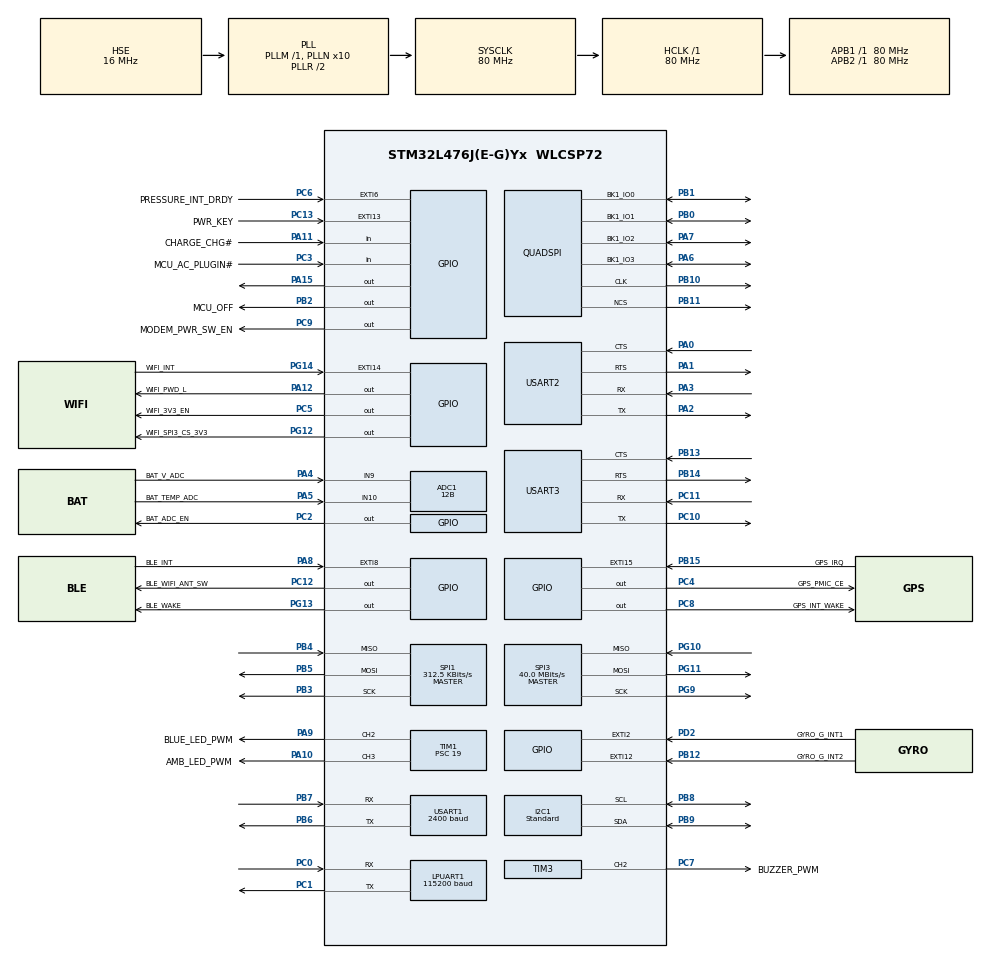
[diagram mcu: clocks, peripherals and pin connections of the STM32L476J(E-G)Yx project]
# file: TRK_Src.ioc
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ADC1.Channel-8\#ChannelRegularConversion=ADC_CHANNEL_9
ADC1.ClockPrescaler=ADC_CLOCK_ASYNC_DIV1
ADC1.ContinuousConvMode=DISABLE
ADC1.DMAContinuousRequests=DISABLE
ADC1.DataAlign=ADC_DATAALIGN_RIGHT
ADC1.DiscontinuousConvMode=DISABLE
ADC1.EOCSelection=ADC_EOC_SINGLE_CONV
ADC1.EnableAnalogWatchDog1=false
ADC1.EnableAnalogWatchDog2=false
ADC1.EnableAnalogWatchDog3=false
ADC1.EnableInjectedConversion=DISABLE
ADC1.EnableRegularConversion=ENABLE
ADC1.ExternalTrigConv=ADC_SOFTWARE_START
ADC1.ExternalTrigConvEdge=ADC_EXTERNALTRIGCONVEDGE_NONE
ADC1.LowPowerAutoWait=DISABLE
ADC1.NbrOfConversion=1
ADC1.NbrOfConversionFlag=1
ADC1.OffsetNumber-8\#ChannelRegularConversion=ADC_OFFSET_NONE
ADC1.Overrun=ADC_OVR_DATA_PRESERVED
ADC1.OversamplingMode=DISABLE
ADC1.Rank-8\#ChannelRegularConversion=1
ADC1.Resolution=ADC_RESOLUTION_12B
ADC1.SamplingTime-8\#ChannelRegularConversion=ADC_SAMPLETIME_2CYCLES_5
ADC1.ScanConvMode=ADC_SCAN_DISABLE
ADC1.master=1
CRC.InputDataFormat=CRC_INPUTDATA_FORMAT_WORDS
Dma.QUADSPI.2.Direction=DMA_PERIPH_TO_MEMORY
Dma.QUADSPI.2.Instance=DMA1_Channel5
Dma.QUADSPI.2.MemDataAlignment=DMA_MDATAALIGN_BYTE
Dma.QUADSPI.2.MemInc=DMA_MINC_ENABLE
Dma.QUADSPI.2.Mode=DMA_NORMAL
Dma.QUADSPI.2.PeriphDataAlignment=DMA_PDATAALIGN_BYTE
Dma.QUADSPI.2.PeriphInc=DMA_PINC_DISABLE
Dma.QUADSPI.2.Priority=DMA_PRIORITY_LOW
Dma.Request0=SPI3_RX
Dma.Request1=SPI3_TX
Dma.Request2=QUADSPI
Dma.Request3=SPI1_RX
Dma.Request4=SPI1_TX
Dma.SPI1_RX.3.Direction=DMA_PERIPH_TO_MEMORY
Dma.SPI1_RX.3.Instance=DMA1_Channel2
Dma.SPI1_RX.3.MemDataAlignment=DMA_MDATAALIGN_BYTE
Dma.SPI1_RX.3.MemInc=DMA_MINC_ENABLE
Dma.SPI1_RX.3.Mode=DMA_NORMAL
Dma.SPI1_RX.3.PeriphDataAlignment=DMA_PDATAALIGN_BYTE
Dma.SPI1_RX.3.PeriphInc=DMA_PINC_DISABLE
Dma.SPI1_RX.3.Priority=DMA_PRIORITY_LOW
Dma.SPI1_TX.4.Direction=DMA_MEMORY_TO_PERIPH
Dma.SPI1_TX.4.Instance=DMA1_Channel3
Dma.SPI1_TX.4.MemDataAlignment=DMA_MDATAALIGN_BYTE
Dma.SPI1_TX.4.MemInc=DMA_MINC_ENABLE
Dma.SPI1_TX.4.Mode=DMA_NORMAL
Dma.SPI1_TX.4.PeriphDataAlignment=DMA_PDATAALIGN_BYTE
Dma.SPI1_TX.4.PeriphInc=DMA_PINC_DISABLE
Dma.SPI1_TX.4.Priority=DMA_PRIORITY_LOW
Dma.SPI3_RX.0.Direction=DMA_PERIPH_TO_MEMORY
Dma.SPI3_RX.0.Instance=DMA2_Channel1
Dma.SPI3_RX.0.MemDataAlignment=DMA_MDATAALIGN_BYTE
Dma.SPI3_RX.0.MemInc=DMA_MINC_ENABLE
Dma.SPI3_RX.0.Mode=DMA_NORMAL
Dma.SPI3_RX.0.PeriphDataAlignment=DMA_PDATAALIGN_BYTE
Dma.SPI3_RX.0.PeriphInc=DMA_PINC_DISABLE
Dma.SPI3_RX.0.Priority=DMA_PRIORITY_LOW
Dma.SPI3_TX.1.Direction=DMA_MEMORY_TO_PERIPH
Dma.SPI3_TX.1.Instance=DMA2_Channel2
Dma.SPI3_TX.1.MemDataAlignment=DMA_MDATAALIGN_BYTE
Dma.SPI3_TX.1.MemInc=DMA_MINC_ENABLE
Dma.SPI3_TX.1.Mode=DMA_NORMAL
Dma.SPI3_TX.1.PeriphDataAlignment=DMA_PDATAALIGN_BYTE
Dma.SPI3_TX.1.PeriphInc=DMA_PINC_DISABLE
Dma.SPI3_TX.1.Priority=DMA_PRIORITY_LOW
FATFS._FS_LOCK=8
FATFS._FS_TINY=1
FATFS._MAX_LFN=128
FATFS._MAX_SS=4096
FATFS._MIN_SS=4096
FREERTOS.Tasks01=TestApp,0,256,StartTestApp,As weak
FREERTOS.configCHECK_FOR_STACK_OVERFLOW=2
FREERTOS.configTOTAL_HEAP_SIZE=32768
FREERTOS.configUSE_MALLOC_FAILED_HOOK=1
FREERTOS.configUSE_TICKLESS_IDLE=1
FREERTOS.configUSE_TIMERS=1
I2C1.I2C_Fall_Time=25
I2C1.I2C_Rise_Time=120
I2C1.I2C_Speed_Mode=I2C_Standard
I2C1.Timing=0x10E0A1E1
LPTIM1.ClockPrescaler=LPTIM_PRESCALER_DIV32
LPUART1.BaudRate=115200
LPUART1.WordLength=UART_WORDLENGTH_8B
Mcu.Family=STM32L4
Mcu.Name=STM32L476J(E-G)Yx
Mcu.Package=WLCSP72
NVIC.DMA1_Channel2_IRQn=true\:5\:0\:false\:false\:true\:true
NVIC.DMA1_Channel3_IRQn=true\:5\:0\:false\:false\:true\:true
NVIC.DMA1_Channel5_IRQn=true\:5\:0\:false\:false\:true\:true
NVIC.DMA2_Channel1_IRQn=true\:5\:0\:false\:false\:true\:true
NVIC.DMA2_Channel2_IRQn=true\:5\:0\:false\:false\:true\:true
NVIC.EXTI15_10_IRQn=true\:5\:0\:false\:false\:true\:true
NVIC.EXTI2_IRQn=true\:5\:0\:false\:false\:true\:true
NVIC.EXTI9_5_IRQn=true\:5\:0\:false\:false\:true\:true
NVIC.I2C1_ER_IRQn=true\:5\:0\:false\:false\:true\:true
NVIC.I2C1_EV_IRQn=true\:5\:0\:false\:false\:true\:true
NVIC.LPTIM1_IRQn=true\:5\:0\:false\:false\:true\:true
NVIC.LPUART1_IRQn=true\:5\:0\:false\:false\:true\:true
NVIC.PriorityGroup=NVIC_PRIORITYGROUP_4
NVIC.QUADSPI_IRQn=true\:5\:0\:false\:false\:true\:true
NVIC.TIM5_IRQn=true\:0\:0\:false\:false\:true\:false
NVIC.TimeBase=TIM5_IRQn
NVIC.TimeBaseIP=TIM5
NVIC.USART1_IRQn=true\:5\:0\:false\:false\:true\:true
NVIC.USART2_IRQn=true\:5\:0\:false\:false\:true\:true
NVIC.USART3_IRQn=true\:5\:0\:false\:false\:true\:true
PA0.Mode=CTS_RTS
PA0.Signal=USART2_CTS
PA1.Mode=CTS_RTS
PA1.Signal=USART2_RTS
PA10.GPIO_Label=AMB_LED_PWM
PA10.Signal=S_TIM1_CH3
PA11.GPIO_Label=CHARGE_CHG\#
PA11.Signal=GPIO_Input
PA12.GPIO_Label=WIFI_PWD_L
PA12.Signal=GPIO_Output
PA13.Mode=Serial_Wire
PA13.Signal=SYS_JTMS-SWDIO
PA14.Mode=Serial_Wire
PA14.Signal=SYS_JTCK-SWCLK
PA15.PinState=GPIO_PIN_SET
PA15.Signal=GPIO_Output
PA2.Mode=Asynchronous
PA2.Signal=USART2_TX
PA3.Mode=Asynchronous
PA3.Signal=USART2_RX
PA4.GPIO_Label=BAT_V_ADC
PA4.Signal=ADCx_IN9
PA5.GPIO_Label=BAT_TEMP_ADC
PA5.Signal=ADCx_IN10
PA6.Mode=Single Bank
PA6.Signal=QUADSPI_BK1_IO3
PA7.Mode=Single Bank
PA7.Signal=QUADSPI_BK1_IO2
PA8.GPIO_Label=BLE_INT
PA8.Signal=GPXTI8
PA9.GPIO_Label=BLUE_LED_PWM
PA9.Signal=S_TIM1_CH2
PB0.Mode=Single Bank
PB0.Signal=QUADSPI_BK1_IO1
PB1.Mode=Single Bank
PB1.Signal=QUADSPI_BK1_IO0
PB10.Mode=Single Bank
PB10.Signal=QUADSPI_CLK
PB11.Mode=Single Bank
PB11.Signal=QUADSPI_NCS
PB12.GPIO_Label=GYRO_G_INT2
PB12.Signal=GPXTI12
PB13.Mode=CTS_RTS
PB13.Signal=USART3_CTS
PB14.Mode=CTS_RTS
PB14.Signal=USART3_RTS
PB15.GPIO_Label=GPS_IRQ
PB15.Signal=GPXTI15
PB2.GPIO_Label=MCU_OFF
PB2.Signal=GPIO_Output
PB3.Mode=Full_Duplex_Master
PB3.Signal=SPI1_SCK
PB4.Mode=Full_Duplex_Master
PB4.Signal=SPI1_MISO
PB5.Mode=Full_Duplex_Master
PB5.Signal=SPI1_MOSI
PB6.Mode=Asynchronous
PB6.Signal=USART1_TX
PB7.Mode=Asynchronous
PB7.Signal=USART1_RX
PB8.Mode=I2C
PB8.Signal=I2C1_SCL
PB9.Mode=I2C
PB9.Signal=I2C1_SDA
PC0.Mode=Asynchronous
PC0.Signal=LPUART1_RX
PC1.Mode=Asynchronous
PC1.Signal=LPUART1_TX
PC10.Mode=Asynchronous
PC10.Signal=USART3_TX
PC11.Mode=Asynchronous
PC11.Signal=USART3_RX
PC12.GPIO_Label=BLE_WIFI_ANT_SW
PC12.Signal=GPIO_Output
PC13.GPIO_Label=PWR_KEY
PC13.GPIO_ModeDefaultEXTI=GPIO_MODE_IT_RISING_FALLING
PC13.Signal=GPXTI13
PC14/OSC32_IN.Mode=LSE-External-Oscillator
PC14/OSC32_IN.Signal=RCC_OSC32_IN
PC15/OSC32_OUT.Mode=LSE-External-Oscillator
PC15/OSC32_OUT.Signal=RCC_OSC32_OUT
PC2.GPIO_Label=BAT_ADC_EN
PC2.Signal=GPIO_Output
PC3.GPIO_Label=MCU_AC_PLUGIN\#
PC3.Signal=GPIO_Input
PC4.GPIO_Label=GPS_PMIC_CE
PC4.Signal=GPIO_Output
PC5.GPIO_Label=WIFI_3V3_EN
PC5.Signal=GPIO_Output
PC6.GPIO_Label=PRESSURE_INT_DRDY
PC6.Signal=GPXTI6
PC7.GPIO_Label=BUZZER_PWM
PC7.Signal=S_TIM3_CH2
PC8.GPIO_Label=GPS_INT_WAKE
PC8.Signal=GPIO_Output
PC9.GPIO_Label=MODEM_PWR_SW_EN
PC9.Signal=GPIO_Output
PD2.GPIO_Label=GYRO_G_INT1
PD2.Signal=GPXTI2
PG10.Mode=Full_Duplex_Master
PG10.Signal=SPI3_MISO
PG11.Mode=Full_Duplex_Master
PG11.Signal=SPI3_MOSI
PG12.GPIO_Label=WIFI_SPI3_CS_3V3
PG12.Signal=GPIO_Output
PG13.GPIO_Label=BLE_WAKE
PG13.Signal=GPIO_Output
PG14.GPIO_Label=WIFI_INT
PG14.Signal=GPXTI14
PG9.Mode=Full_Duplex_Master
PG9.Signal=SPI3_SCK
PH0/OSC_IN.Mode=HSE-External-Oscillator
PH0/OSC_IN.Signal=RCC_OSC_IN
PH1/OSC_OUT.Mode=HSE-External-Oscillator
PH1/OSC_OUT.Signal=RCC_OSC_OUT
ProjectManager.HeapSize=0x200
ProjectManager.StackSize=0x800
ProjectManager.TargetToolchain=SW4STM32
QUADSPI.ClockPrescaler-Single\ Bank=5
QUADSPI.FifoThreshold-Single\ Bank=4
QUADSPI.FlashSize-Single\ Bank=22
RCC.ADCFreq_Value=64000000
RCC.AHBFreq_Value=80000000
RCC.APB1Freq_Value=80000000
RCC.APB1TimFreq_Value=80000000
RCC.APB2Freq_Value=80000000
RCC.APB2TimFreq_Value=80000000
RCC.CortexFreq_Value=80000000
RCC.HCLKFreq_Value=80000000
RCC.HSE_VALUE=16000000
RCC.HSI_VALUE=16000000
RCC.LPTIM1CLockSelection=RCC_LPTIM1CLKSOURCE_LSI
RCC.LPUART1CLockSelection=RCC_LPUART1CLKSOURCE_HSI
RCC.MSI_VALUE=4000000
RCC.PLLN=10
RCC.PLLSourceVirtual=RCC_PLLSOURCE_HSE
RCC.RTCClockSelection=RCC_RTCCLKSOURCE_LSE
RCC.SYSCLKFreq_VALUE=80000000
RCC.SYSCLKSource=RCC_SYSCLKSOURCE_PLLCLK
RCC.USBFreq_Value=64000000
RCC.VCOOutputFreq_Value=160000000
RCC.VDD_VALUE=1.8
SH.ADCx_IN10.0=ADC1_IN10,IN10-Single-Ended
SH.ADCx_IN9.0=ADC1_IN9,IN9-Single-Ended
SH.S_TIM1_CH2.0=TIM1_CH2,PWM Generation2 CH2
SH.S_TIM1_CH3.0=TIM1_CH3,PWM Generation3 CH3
SH.S_TIM3_CH2.0=TIM3_CH2,PWM Generation2 CH2
SPI1.BaudRatePrescaler=SPI_BAUDRATEPRESCALER_256
SPI1.CalculateBaudRate=312.5 KBits/s
SPI1.DataSize=SPI_DATASIZE_8BIT
SPI1.Mode=SPI_MODE_MASTER
SPI3.BaudRatePrescaler=SPI_BAUDRATEPRESCALER_2
SPI3.CalculateBaudRate=40.0 MBits/s
SPI3.Mode=SPI_MODE_MASTER
TIM1.Channel-PWM\ Generation2\ CH2=TIM_CHANNEL_2
TIM1.Channel-PWM\ Generation3\ CH3=TIM_CHANNEL_3
TIM1.Period=999
TIM1.Prescaler=19
TIM1.Pulse-PWM\ Generation2\ CH2=500
TIM1.Pulse-PWM\ Generation3\ CH3=500
TIM3.Channel-PWM\ Generation2\ CH2=TIM_CHANNEL_2
TIM3.Period=999
TIM3.Prescaler=19
TIM3.Pulse-PWM\ Generation2\ CH2=500
USART1.BaudRate=2400
USART1.WordLength=UART_WORDLENGTH_8B
USART2.WordLength=UART_WORDLENGTH_8B
USART3.WordLength=UART_WORDLENGTH_8B
VP_CRC_VS_CRC.Mode=CRC_Activate
VP_FATFS_VS_Generic.Mode=User_defined
VP_FREERTOS_VS_ENABLE.Mode=Enabled
VP_LPTIM1_VS_LPTIM_counterModeInternalClock.Mode=Counts__internal_clock_event_00
VP_RTC_VS_RTC_Alarm_A_Intern.Mode=Alarm A
VP_RTC_VS_RTC_Alarm_B_Intern.Mode=Alarm B
VP_RTC_VS_RTC_WakeUp_intern.Mode=WakeUp
VP_SYS_VS_tim5.Mode=TIM5
board=TRK_Src

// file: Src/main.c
/**
  ******************************************************************************
  * File Name          : main.c
  * Description        : Main program body
  ******************************************************************************
  *
  * COPYRIGHT(c) 2016 STMicroelectronics
  *
  * Redistribution and use in source and binary forms, with or without modification,
  * are permitted provided that the following conditions are met:
  *   1. Redistributions of source code must retain the above copyright notice,
  *      this list of conditions and the following disclaimer.
  *   2. Redistributions in binary form must reproduce the above copyright notice,
  *      this list of conditions and the following disclaimer in the documentation
  *      and/or other materials provided with the distribution.
  *   3. Neither the name of STMicroelectronics nor the names of its contributors
  *      may be used to endorse or promote products derived from this software
  *      without specific prior written permission.
  *
  * THIS SOFTWARE IS PROVIDED BY THE COPYRIGHT HOLDERS AND CONTRIBUTORS "AS IS"
  * AND ANY EXPRESS OR IMPLIED WARRANTIES, INCLUDING, BUT NOT LIMITED TO, THE
  * IMPLIED WARRANTIES OF MERCHANTABILITY AND FITNESS FOR A PARTICULAR PURPOSE ARE
  * DISCLAIMED. IN NO EVENT SHALL THE COPYRIGHT HOLDER OR CONTRIBUTORS BE LIABLE
  * FOR ANY DIRECT, INDIRECT, INCIDENTAL, SPECIAL, EXEMPLARY, OR CONSEQUENTIAL
  * DAMAGES (INCLUDING, BUT NOT LIMITED TO, PROCUREMENT OF SUBSTITUTE GOODS OR
  * SERVICES; LOSS OF USE, DATA, OR PROFITS; OR BUSINESS INTERRUPTION) HOWEVER
  * CAUSED AND ON ANY THEORY OF LIABILITY, WHETHER IN CONTRACT, STRICT LIABILITY,
  * OR TORT (INCLUDING NEGLIGENCE OR OTHERWISE) ARISING IN ANY WAY OUT OF THE USE
  * OF THIS SOFTWARE, EVEN IF ADVISED OF THE POSSIBILITY OF SUCH DAMAGE.
  *
  ******************************************************************************
  */
#include "stm32l4xx_hal.h"
#include "cmsis_os.h"
#include "fatfs.h"

/* USER CODE BEGIN Includes */
#include "bmHostBoot.h"
#include "genApi.h"
#include "fmApi.h"
#include "smApi.h"
#include "smSrv.h"
#include "uart.h"
/* USER CODE END Includes */

ADC_HandleTypeDef hadc1;

CRC_HandleTypeDef hcrc;

I2C_HandleTypeDef hi2c1;

LPTIM_HandleTypeDef hlptim1;

UART_HandleTypeDef hlpuart1;
UART_HandleTypeDef huart1;
UART_HandleTypeDef huart2;
UART_HandleTypeDef huart3;

QSPI_HandleTypeDef hqspi;
DMA_HandleTypeDef hdma_quadspi;

RTC_HandleTypeDef hrtc;

SPI_HandleTypeDef hspi1;
SPI_HandleTypeDef hspi3;
DMA_HandleTypeDef hdma_spi1_rx;
DMA_HandleTypeDef hdma_spi1_tx;
DMA_HandleTypeDef hdma_spi3_rx;
DMA_HandleTypeDef hdma_spi3_tx;

TIM_HandleTypeDef htim1;
TIM_HandleTypeDef htim3;

osThreadId TestAppHandle;

/* USER CODE BEGIN PV */
osThreadId smTaskHandle, taskPmHandle;
/* Private variables ---------------------------------------------------------*/
static uint16_t uart_ready;

/* USER CODE END PV */

void SystemClock_Config(void);
void Error_Handler(void);
static void MX_GPIO_Init(void);
static void MX_DMA_Init(void);
static void MX_ADC1_Init(void);
static void MX_I2C1_Init(void);
static void MX_LPTIM1_Init(void);
static void MX_LPUART1_UART_Init(void);
static void MX_USART1_UART_Init(void);
static void MX_USART2_UART_Init(void);
static void MX_USART3_UART_Init(void);
static void MX_QUADSPI_Init(void);
static void MX_TIM1_Init(void);
static void MX_CRC_Init(void);
static void MX_SPI3_Init(void);
static void MX_TIM3_Init(void);
static void MX_RTC_Init(void);
static void MX_SPI1_Init(void);
void StartTestApp(void const * argument);

void HAL_TIM_MspPostInit(TIM_HandleTypeDef *htim);

/* USER CODE BEGIN PFP */
void StartTaskPm(void const * argument);
/* Private function prototypes -----------------------------------------------*/

/* USER CODE END PFP */

int main(void)
{

  /* USER CODE BEGIN 1 */
  uart_ready = 0;

  /* USER CODE END 1 */

  /* MCU Configuration----------------------------------------------------------*/

  /* Reset of all peripherals, Initializes the Flash interface and the Systick. */
  HAL_Init();

  /* Configure the system clock */
  SystemClock_Config();

  /* Initialize all configured peripherals */
  MX_GPIO_Init();
  MX_DMA_Init();
  MX_ADC1_Init();
  MX_I2C1_Init();
  MX_LPTIM1_Init();
  MX_LPUART1_UART_Init();
  MX_USART1_UART_Init();
  MX_USART2_UART_Init();
  MX_USART3_UART_Init();
  MX_QUADSPI_Init();
  MX_TIM1_Init();
  MX_CRC_Init();
  MX_SPI3_Init();
  MX_TIM3_Init();
  MX_RTC_Init();
  MX_SPI1_Init();

  /* USER CODE BEGIN 2 */
  uart_ready = 1;
  /* assert() test for ST driver
  HAL_NVIC_SetPriority(MemoryManagement_IRQn, 0, 32);
  */
  odmEntry();

  /* USER CODE END 2 */

  /* Create the thread(s) */
  /* definition and creation of TestApp */
  osThreadDef(TestApp, StartTestApp, osPriorityNormal, 0, 256);
  TestAppHandle = osThreadCreate(osThread(TestApp), NULL);

  /* USER CODE BEGIN RTOS_THREADS */
  osThreadDef(SMTASk, smTask, osPriorityNormal, 0, 256);
  smTaskHandle = osThreadCreate(osThread(SMTASk), NULL);
  osThreadDef(taskPm, StartTaskPm, osPriorityNormal, 0, 256);
  taskPmHandle = osThreadCreate(osThread(taskPm), NULL);
  /* USER CODE END RTOS_THREADS */

  /* Start scheduler */
  osKernelStart();

  /* We should never get here as control is now taken by the scheduler */

  /* Infinite loop */
  while (1)
  {

  }

}

/** System Clock Configuration
*/
void SystemClock_Config(void)
{

  RCC_OscInitTypeDef RCC_OscInitStruct;
  RCC_ClkInitTypeDef RCC_ClkInitStruct;
  RCC_PeriphCLKInitTypeDef PeriphClkInit;

  RCC_OscInitStruct.OscillatorType = RCC_OSCILLATORTYPE_HSI|RCC_OSCILLATORTYPE_LSI
                              |RCC_OSCILLATORTYPE_HSE|RCC_OSCILLATORTYPE_LSE;
  RCC_OscInitStruct.HSEState = RCC_HSE_ON;
  RCC_OscInitStruct.LSEState = RCC_LSE_ON;
  RCC_OscInitStruct.HSIState = RCC_HSI_ON;
  RCC_OscInitStruct.HSICalibrationValue = 16;
  RCC_OscInitStruct.LSIState = RCC_LSI_ON;
  RCC_OscInitStruct.PLL.PLLState = RCC_PLL_ON;
  RCC_OscInitStruct.PLL.PLLSource = RCC_PLLSOURCE_HSE;
  RCC_OscInitStruct.PLL.PLLM = 1;
  RCC_OscInitStruct.PLL.PLLN = 10;
  RCC_OscInitStruct.PLL.PLLP = RCC_PLLP_DIV7;
  RCC_OscInitStruct.PLL.PLLQ = RCC_PLLQ_DIV2;
  RCC_OscInitStruct.PLL.PLLR = RCC_PLLR_DIV2;
  if (HAL_RCC_OscConfig(&RCC_OscInitStruct) != HAL_OK)
  {
    Error_Handler();
  }

  RCC_ClkInitStruct.ClockType = RCC_CLOCKTYPE_HCLK|RCC_CLOCKTYPE_SYSCLK
                              |RCC_CLOCKTYPE_PCLK1|RCC_CLOCKTYPE_PCLK2;
  RCC_ClkInitStruct.SYSCLKSource = RCC_SYSCLKSOURCE_PLLCLK;
  RCC_ClkInitStruct.AHBCLKDivider = RCC_SYSCLK_DIV1;
  RCC_ClkInitStruct.APB1CLKDivider = RCC_HCLK_DIV1;
  RCC_ClkInitStruct.APB2CLKDivider = RCC_HCLK_DIV1;
  if (HAL_RCC_ClockConfig(&RCC_ClkInitStruct, FLASH_LATENCY_4) != HAL_OK)
  {
    Error_Handler();
  }

  PeriphClkInit.PeriphClockSelection = RCC_PERIPHCLK_RTC|RCC_PERIPHCLK_USART1
                              |RCC_PERIPHCLK_USART2|RCC_PERIPHCLK_USART3
                              |RCC_PERIPHCLK_LPUART1|RCC_PERIPHCLK_LPTIM1
                              |RCC_PERIPHCLK_I2C1|RCC_PERIPHCLK_ADC;
  PeriphClkInit.Usart1ClockSelection = RCC_USART1CLKSOURCE_PCLK2;
  PeriphClkInit.Usart2ClockSelection = RCC_USART2CLKSOURCE_PCLK1;
  PeriphClkInit.Usart3ClockSelection = RCC_USART3CLKSOURCE_PCLK1;
  PeriphClkInit.Lpuart1ClockSelection = RCC_LPUART1CLKSOURCE_HSI;
  PeriphClkInit.I2c1ClockSelection = RCC_I2C1CLKSOURCE_PCLK1;
  PeriphClkInit.Lptim1ClockSelection = RCC_LPTIM1CLKSOURCE_LSI;
  PeriphClkInit.AdcClockSelection = RCC_ADCCLKSOURCE_PLLSAI1;
  PeriphClkInit.RTCClockSelection = RCC_RTCCLKSOURCE_LSE;
  PeriphClkInit.PLLSAI1.PLLSAI1Source = RCC_PLLSOURCE_HSE;
  PeriphClkInit.PLLSAI1.PLLSAI1M = 1;
  PeriphClkInit.PLLSAI1.PLLSAI1N = 8;
  PeriphClkInit.PLLSAI1.PLLSAI1P = RCC_PLLP_DIV7;
  PeriphClkInit.PLLSAI1.PLLSAI1Q = RCC_PLLQ_DIV2;
  PeriphClkInit.PLLSAI1.PLLSAI1R = RCC_PLLR_DIV2;
  PeriphClkInit.PLLSAI1.PLLSAI1ClockOut = RCC_PLLSAI1_ADC1CLK;
  if (HAL_RCCEx_PeriphCLKConfig(&PeriphClkInit) != HAL_OK)
  {
    Error_Handler();
  }

  __HAL_RCC_PWR_CLK_ENABLE();

  if (HAL_PWREx_ControlVoltageScaling(PWR_REGULATOR_VOLTAGE_SCALE1) != HAL_OK)
  {
    Error_Handler();
  }

  HAL_SYSTICK_Config(HAL_RCC_GetHCLKFreq()/1000);

  HAL_SYSTICK_CLKSourceConfig(SYSTICK_CLKSOURCE_HCLK);

  /* SysTick_IRQn interrupt configuration */
  HAL_NVIC_SetPriority(SysTick_IRQn, 15, 0);
}

/* ADC1 init function */
static void MX_ADC1_Init(void)
{

  ADC_MultiModeTypeDef multimode;
  ADC_ChannelConfTypeDef sConfig;

    /**Common config
    */
  hadc1.Instance = ADC1;
  hadc1.Init.ClockPrescaler = ADC_CLOCK_ASYNC_DIV1;
  hadc1.Init.Resolution = ADC_RESOLUTION_12B;
  hadc1.Init.DataAlign = ADC_DATAALIGN_RIGHT;
  hadc1.Init.ScanConvMode = ADC_SCAN_DISABLE;
  hadc1.Init.EOCSelection = ADC_EOC_SINGLE_CONV;
  hadc1.Init.LowPowerAutoWait = DISABLE;
  hadc1.Init.ContinuousConvMode = DISABLE;
  hadc1.Init.NbrOfConversion = 1;
  hadc1.Init.DiscontinuousConvMode = DISABLE;
  hadc1.Init.ExternalTrigConv = ADC_SOFTWARE_START;
  hadc1.Init.ExternalTrigConvEdge = ADC_EXTERNALTRIGCONVEDGE_NONE;
  hadc1.Init.DMAContinuousRequests = DISABLE;
  hadc1.Init.Overrun = ADC_OVR_DATA_PRESERVED;
  hadc1.Init.OversamplingMode = DISABLE;
  if (HAL_ADC_Init(&hadc1) != HAL_OK)
  {
    Error_Handler();
  }

    /**Configure the ADC multi-mode
    */
  multimode.Mode = ADC_MODE_INDEPENDENT;
  if (HAL_ADCEx_MultiModeConfigChannel(&hadc1, &multimode) != HAL_OK)
  {
    Error_Handler();
  }

    /**Configure Regular Channel
    */
  sConfig.Channel = ADC_CHANNEL_9;
  sConfig.Rank = 1;
  sConfig.SamplingTime = ADC_SAMPLETIME_2CYCLES_5;
  sConfig.SingleDiff = ADC_SINGLE_ENDED;
  sConfig.OffsetNumber = ADC_OFFSET_NONE;
  sConfig.Offset = 0;
  if (HAL_ADC_ConfigChannel(&hadc1, &sConfig) != HAL_OK)
  {
    Error_Handler();
  }

}

/* CRC init function */
static void MX_CRC_Init(void)
{

  hcrc.Instance = CRC;
  hcrc.Init.DefaultPolynomialUse = DEFAULT_POLYNOMIAL_ENABLE;
  hcrc.Init.DefaultInitValueUse = DEFAULT_INIT_VALUE_ENABLE;
  hcrc.Init.InputDataInversionMode = CRC_INPUTDATA_INVERSION_NONE;
  hcrc.Init.OutputDataInversionMode = CRC_OUTPUTDATA_INVERSION_DISABLE;
  hcrc.InputDataFormat = CRC_INPUTDATA_FORMAT_WORDS;
  if (HAL_CRC_Init(&hcrc) != HAL_OK)
  {
    Error_Handler();
  }

}

/* I2C1 init function */
static void MX_I2C1_Init(void)
{

  hi2c1.Instance = I2C1;
  hi2c1.Init.Timing = 0x10E0A1E1;
  hi2c1.Init.OwnAddress1 = 0;
  hi2c1.Init.AddressingMode = I2C_ADDRESSINGMODE_7BIT;
  hi2c1.Init.DualAddressMode = I2C_DUALADDRESS_DISABLE;
  hi2c1.Init.OwnAddress2 = 0;
  hi2c1.Init.OwnAddress2Masks = I2C_OA2_NOMASK;
  hi2c1.Init.GeneralCallMode = I2C_GENERALCALL_DISABLE;
  hi2c1.Init.NoStretchMode = I2C_NOSTRETCH_DISABLE;
  if (HAL_I2C_Init(&hi2c1) != HAL_OK)
  {
    Error_Handler();
  }

    /**Configure Analogue filter
    */
  if (HAL_I2CEx_ConfigAnalogFilter(&hi2c1, I2C_ANALOGFILTER_ENABLE) != HAL_OK)
  {
    Error_Handler();
  }

}

/* LPTIM1 init function */
static void MX_LPTIM1_Init(void)
{

  hlptim1.Instance = LPTIM1;
  hlptim1.Init.Clock.Source = LPTIM_CLOCKSOURCE_APBCLOCK_LPOSC;
  hlptim1.Init.Clock.Prescaler = LPTIM_PRESCALER_DIV32;
  hlptim1.Init.Trigger.Source = LPTIM_TRIGSOURCE_SOFTWARE;
  hlptim1.Init.OutputPolarity = LPTIM_OUTPUTPOLARITY_HIGH;
  hlptim1.Init.UpdateMode = LPTIM_UPDATE_IMMEDIATE;
  hlptim1.Init.CounterSource = LPTIM_COUNTERSOURCE_INTERNAL;
  hlptim1.Init.Input1Source = LPTIM_INPUT1SOURCE_GPIO;
  hlptim1.Init.Input2Source = LPTIM_INPUT2SOURCE_GPIO;
  if (HAL_LPTIM_Init(&hlptim1) != HAL_OK)
  {
    Error_Handler();
  }

}

/* LPUART1 init function */
static void MX_LPUART1_UART_Init(void)
{

  hlpuart1.Instance = LPUART1;
  hlpuart1.Init.BaudRate = 115200;
  hlpuart1.Init.WordLength = UART_WORDLENGTH_8B;
  hlpuart1.Init.StopBits = UART_STOPBITS_1;
  hlpuart1.Init.Parity = UART_PARITY_NONE;
  hlpuart1.Init.Mode = UART_MODE_TX_RX;
  hlpuart1.Init.HwFlowCtl = UART_HWCONTROL_NONE;
  hlpuart1.Init.OneBitSampling = UART_ONE_BIT_SAMPLE_DISABLE;
  hlpuart1.AdvancedInit.AdvFeatureInit = UART_ADVFEATURE_NO_INIT;
  if (HAL_UART_Init(&hlpuart1) != HAL_OK)
  {
    Error_Handler();
  }

}

/* USART1 init function */
static void MX_USART1_UART_Init(void)
{

  huart1.Instance = USART1;
  huart1.Init.BaudRate = 2400;
  huart1.Init.WordLength = UART_WORDLENGTH_8B;
  huart1.Init.StopBits = UART_STOPBITS_1;
  huart1.Init.Parity = UART_PARITY_NONE;
  huart1.Init.Mode = UART_MODE_TX_RX;
  huart1.Init.HwFlowCtl = UART_HWCONTROL_NONE;
  huart1.Init.OverSampling = UART_OVERSAMPLING_16;
  huart1.Init.OneBitSampling = UART_ONE_BIT_SAMPLE_DISABLE;
  huart1.AdvancedInit.AdvFeatureInit = UART_ADVFEATURE_NO_INIT;
  if (HAL_UART_Init(&huart1) != HAL_OK)
  {
    Error_Handler();
  }

}

/* USART2 init function */
static void MX_USART2_UART_Init(void)
{

  huart2.Instance = USART2;
  huart2.Init.BaudRate = 115200;
  huart2.Init.WordLength = UART_WORDLENGTH_8B;
  huart2.Init.StopBits = UART_STOPBITS_1;
  huart2.Init.Parity = UART_PARITY_NONE;
  huart2.Init.Mode = UART_MODE_TX_RX;
  huart2.Init.HwFlowCtl = UART_HWCONTROL_NONE;
  huart2.Init.OverSampling = UART_OVERSAMPLING_16;
  huart2.Init.OneBitSampling = UART_ONE_BIT_SAMPLE_DISABLE;
  huart2.AdvancedInit.AdvFeatureInit = UART_ADVFEATURE_NO_INIT;
  if (HAL_UART_Init(&huart2) != HAL_OK)
  {
    Error_Handler();
  }

}

/* USART3 init function */
static void MX_USART3_UART_Init(void)
{

  huart3.Instance = USART3;
  huart3.Init.BaudRate = 115200;
  huart3.Init.WordLength = UART_WORDLENGTH_8B;
  huart3.Init.StopBits = UART_STOPBITS_1;
  huart3.Init.Parity = UART_PARITY_NONE;
  huart3.Init.Mode = UART_MODE_TX_RX;
  huart3.Init.HwFlowCtl = UART_HWCONTROL_NONE;
  huart3.Init.OverSampling = UART_OVERSAMPLING_16;
  huart3.Init.OneBitSampling = UART_ONE_BIT_SAMPLE_DISABLE;
  huart3.AdvancedInit.AdvFeatureInit = UART_ADVFEATURE_NO_INIT;
  if (HAL_UART_Init(&huart3) != HAL_OK)
  {
    Error_Handler();
  }

}

/* QUADSPI init function */
static void MX_QUADSPI_Init(void)
{

  hqspi.Instance = QUADSPI;
  hqspi.Init.ClockPrescaler = 5;
  hqspi.Init.FifoThreshold = 4;
  hqspi.Init.SampleShifting = QSPI_SAMPLE_SHIFTING_NONE;
  hqspi.Init.FlashSize = 22;
  hqspi.Init.ChipSelectHighTime = QSPI_CS_HIGH_TIME_1_CYCLE;
  hqspi.Init.ClockMode = QSPI_CLOCK_MODE_0;
  if (HAL_QSPI_Init(&hqspi) != HAL_OK)
  {
    Error_Handler();
  }

}

/* RTC init function */
static void MX_RTC_Init(void)
{

  RTC_TimeTypeDef sTime;
  RTC_DateTypeDef sDate;
  RTC_AlarmTypeDef sAlarm;

    /**Initialize RTC and set the Time and Date
    */
  hrtc.Instance = RTC;
  hrtc.Init.HourFormat = RTC_HOURFORMAT_24;
  hrtc.Init.AsynchPrediv = 127;
  hrtc.Init.SynchPrediv = 255;
  hrtc.Init.OutPut = RTC_OUTPUT_DISABLE;
  hrtc.Init.OutPutRemap = RTC_OUTPUT_REMAP_NONE;
  hrtc.Init.OutPutPolarity = RTC_OUTPUT_POLARITY_HIGH;
  hrtc.Init.OutPutType = RTC_OUTPUT_TYPE_OPENDRAIN;
  if (HAL_RTC_Init(&hrtc) != HAL_OK)
  {
    Error_Handler();
  }

  sTime.Hours = 0x0;
  sTime.Minutes = 0x0;
  sTime.Seconds = 0x0;
  sTime.DayLightSaving = RTC_DAYLIGHTSAVING_NONE;
  sTime.StoreOperation = RTC_STOREOPERATION_RESET;
  if (HAL_RTC_SetTime(&hrtc, &sTime, RTC_FORMAT_BCD) != HAL_OK)
  {
    Error_Handler();
  }

  sDate.WeekDay = RTC_WEEKDAY_MONDAY;
  sDate.Month = RTC_MONTH_JANUARY;
  sDate.Date = 0x1;
  sDate.Year = 0x0;

  if (HAL_RTC_SetDate(&hrtc, &sDate, RTC_FORMAT_BCD) != HAL_OK)
  {
    Error_Handler();
  }

    /**Enable the Alarm A
    */
  sAlarm.AlarmTime.Hours = 0x0;
  sAlarm.AlarmTime.Minutes = 0x0;
  sAlarm.AlarmTime.Seconds = 0x0;
  sAlarm.AlarmTime.SubSeconds = 0x0;
  sAlarm.AlarmTime.DayLightSaving = RTC_DAYLIGHTSAVING_NONE;
  sAlarm.AlarmTime.StoreOperation = RTC_STOREOPERATION_RESET;
  sAlarm.AlarmMask = RTC_ALARMMASK_NONE;
  sAlarm.AlarmSubSecondMask = RTC_ALARMSUBSECONDMASK_ALL;
  sAlarm.AlarmDateWeekDaySel = RTC_ALARMDATEWEEKDAYSEL_DATE;
  sAlarm.AlarmDateWeekDay = 0x1;
  sAlarm.Alarm = RTC_ALARM_A;
  if (HAL_RTC_SetAlarm(&hrtc, &sAlarm, RTC_FORMAT_BCD) != HAL_OK)
  {
    Error_Handler();
  }

    /**Enable the Alarm B
    */
  sAlarm.AlarmDateWeekDay = 0x1;
  sAlarm.Alarm = RTC_ALARM_B;
  if (HAL_RTC_SetAlarm(&hrtc, &sAlarm, RTC_FORMAT_BCD) != HAL_OK)
  {
    Error_Handler();
  }

    /**Enable the WakeUp
    */
  if (HAL_RTCEx_SetWakeUpTimer(&hrtc, 0, RTC_WAKEUPCLOCK_RTCCLK_DIV16) != HAL_OK)
  {
    Error_Handler();
  }

}

/* SPI1 init function */
static void MX_SPI1_Init(void)
{

  hspi1.Instance = SPI1;
  hspi1.Init.Mode = SPI_MODE_MASTER;
  hspi1.Init.Direction = SPI_DIRECTION_2LINES;
  hspi1.Init.DataSize = SPI_DATASIZE_8BIT;
  hspi1.Init.CLKPolarity = SPI_POLARITY_LOW;
  hspi1.Init.CLKPhase = SPI_PHASE_1EDGE;
  hspi1.Init.NSS = SPI_NSS_SOFT;
  hspi1.Init.BaudRatePrescaler = SPI_BAUDRATEPRESCALER_256;
  hspi1.Init.FirstBit = SPI_FIRSTBIT_MSB;
  hspi1.Init.TIMode = SPI_TIMODE_DISABLE;
  hspi1.Init.CRCCalculation = SPI_CRCCALCULATION_DISABLE;
  hspi1.Init.CRCPolynomial = 7;
  hspi1.Init.CRCLength = SPI_CRC_LENGTH_DATASIZE;
  hspi1.Init.NSSPMode = SPI_NSS_PULSE_ENABLE;
  if (HAL_SPI_Init(&hspi1) != HAL_OK)
  {
    Error_Handler();
  }

}

/* SPI3 init function */
static void MX_SPI3_Init(void)
{

  hspi3.Instance = SPI3;
  hspi3.Init.Mode = SPI_MODE_MASTER;
  hspi3.Init.Direction = SPI_DIRECTION_2LINES;
  hspi3.Init.DataSize = SPI_DATASIZE_4BIT;
  hspi3.Init.CLKPolarity = SPI_POLARITY_LOW;
  hspi3.Init.CLKPhase = SPI_PHASE_1EDGE;
  hspi3.Init.NSS = SPI_NSS_SOFT;
  hspi3.Init.BaudRatePrescaler = SPI_BAUDRATEPRESCALER_2;
  hspi3.Init.FirstBit = SPI_FIRSTBIT_MSB;
  hspi3.Init.TIMode = SPI_TIMODE_DISABLE;
  hspi3.Init.CRCCalculation = SPI_CRCCALCULATION_DISABLE;
  hspi3.Init.CRCPolynomial = 7;
  hspi3.Init.CRCLength = SPI_CRC_LENGTH_DATASIZE;
  hspi3.Init.NSSPMode = SPI_NSS_PULSE_ENABLE;
  if (HAL_SPI_Init(&hspi3) != HAL_OK)
  {
    Error_Handler();
  }

}

/* TIM1 init function */
static void MX_TIM1_Init(void)
{

  TIM_MasterConfigTypeDef sMasterConfig;
  TIM_BreakDeadTimeConfigTypeDef sBreakDeadTimeConfig;
  TIM_OC_InitTypeDef sConfigOC;

  htim1.Instance = TIM1;
  htim1.Init.Prescaler = 19;
  htim1.Init.CounterMode = TIM_COUNTERMODE_UP;
  htim1.Init.Period = 999;
  htim1.Init.ClockDivision = TIM_CLOCKDIVISION_DIV1;
  htim1.Init.RepetitionCounter = 0;
  if (HAL_TIM_PWM_Init(&htim1) != HAL_OK)
  {
    Error_Handler();
  }

  sMasterConfig.MasterOutputTrigger = TIM_TRGO_RESET;
  sMasterConfig.MasterOutputTrigger2 = TIM_TRGO2_RESET;
  sMasterConfig.MasterSlaveMode = TIM_MASTERSLAVEMODE_DISABLE;
  if (HAL_TIMEx_MasterConfigSynchronization(&htim1, &sMasterConfig) != HAL_OK)
  {
    Error_Handler();
  }

  sBreakDeadTimeConfig.OffStateRunMode = TIM_OSSR_DISABLE;
  sBreakDeadTimeConfig.OffStateIDLEMode = TIM_OSSI_DISABLE;
  sBreakDeadTimeConfig.LockLevel = TIM_LOCKLEVEL_OFF;
  sBreakDeadTimeConfig.DeadTime = 0;
  sBreakDeadTimeConfig.BreakState = TIM_BREAK_DISABLE;
  sBreakDeadTimeConfig.BreakPolarity = TIM_BREAKPOLARITY_HIGH;
  sBreakDeadTimeConfig.BreakFilter = 0;
  sBreakDeadTimeConfig.Break2State = TIM_BREAK2_DISABLE;
  sBreakDeadTimeConfig.Break2Polarity = TIM_BREAK2POLARITY_HIGH;
  sBreakDeadTimeConfig.Break2Filter = 0;
  sBreakDeadTimeConfig.AutomaticOutput = TIM_AUTOMATICOUTPUT_DISABLE;
  if (HAL_TIMEx_ConfigBreakDeadTime(&htim1, &sBreakDeadTimeConfig) != HAL_OK)
  {
    Error_Handler();
  }

  sConfigOC.OCMode = TIM_OCMODE_PWM1;
  sConfigOC.Pulse = 500;
  sConfigOC.OCPolarity = TIM_OCPOLARITY_HIGH;
  sConfigOC.OCNPolarity = TIM_OCNPOLARITY_HIGH;
  sConfigOC.OCFastMode = TIM_OCFAST_DISABLE;
  sConfigOC.OCIdleState = TIM_OCIDLESTATE_RESET;
  sConfigOC.OCNIdleState = TIM_OCNIDLESTATE_RESET;
  if (HAL_TIM_PWM_ConfigChannel(&htim1, &sConfigOC, TIM_CHANNEL_2) != HAL_OK)
  {
    Error_Handler();
  }

  if (HAL_TIM_PWM_ConfigChannel(&htim1, &sConfigOC, TIM_CHANNEL_3) != HAL_OK)
  {
    Error_Handler();
  }

  HAL_TIM_MspPostInit(&htim1);

}

/* TIM3 init function */
static void MX_TIM3_Init(void)
{

  TIM_MasterConfigTypeDef sMasterConfig;
  TIM_OC_InitTypeDef sConfigOC;

  htim3.Instance = TIM3;
  htim3.Init.Prescaler = 19;
  htim3.Init.CounterMode = TIM_COUNTERMODE_UP;
  htim3.Init.Period = 999;
  htim3.Init.ClockDivision = TIM_CLOCKDIVISION_DIV1;
  if (HAL_TIM_PWM_Init(&htim3) != HAL_OK)
  {
    Error_Handler();
  }

  sMasterConfig.MasterOutputTrigger = TIM_TRGO_RESET;
  sMasterConfig.MasterSlaveMode = TIM_MASTERSLAVEMODE_DISABLE;
  if (HAL_TIMEx_MasterConfigSynchronization(&htim3, &sMasterConfig) != HAL_OK)
  {
    Error_Handler();
  }

  sConfigOC.OCMode = TIM_OCMODE_PWM1;
  sConfigOC.Pulse = 500;
  sConfigOC.OCPolarity = TIM_OCPOLARITY_HIGH;
  sConfigOC.OCFastMode = TIM_OCFAST_DISABLE;
  if (HAL_TIM_PWM_ConfigChannel(&htim3, &sConfigOC, TIM_CHANNEL_2) != HAL_OK)
  {
    Error_Handler();
  }

  HAL_TIM_MspPostInit(&htim3);

}

static void MX_DMA_Init(void)
{
  /* DMA controller clock enable */
  __HAL_RCC_DMA2_CLK_ENABLE();
  __HAL_RCC_DMA1_CLK_ENABLE();

  /* DMA interrupt init */
  /* DMA1_Channel2_IRQn interrupt configuration */
  HAL_NVIC_SetPriority(DMA1_Channel2_IRQn, 5, 0);
  HAL_NVIC_EnableIRQ(DMA1_Channel2_IRQn);
  /* DMA1_Channel3_IRQn interrupt configuration */
  HAL_NVIC_SetPriority(DMA1_Channel3_IRQn, 5, 0);
  HAL_NVIC_EnableIRQ(DMA1_Channel3_IRQn);
  /* DMA1_Channel5_IRQn interrupt configuration */
  HAL_NVIC_SetPriority(DMA1_Channel5_IRQn, 5, 0);
  HAL_NVIC_EnableIRQ(DMA1_Channel5_IRQn);
  /* DMA2_Channel1_IRQn interrupt configuration */
  HAL_NVIC_SetPriority(DMA2_Channel1_IRQn, 5, 0);
  HAL_NVIC_EnableIRQ(DMA2_Channel1_IRQn);
  /* DMA2_Channel2_IRQn interrupt configuration */
  HAL_NVIC_SetPriority(DMA2_Channel2_IRQn, 5, 0);
  HAL_NVIC_EnableIRQ(DMA2_Channel2_IRQn);

}

/** Configure pins as
        * Analog
        * Input
        * Output
        * EVENT_OUT
        * EXTI
*/
static void MX_GPIO_Init(void)
{

  GPIO_InitTypeDef GPIO_InitStruct;

  /* GPIO Ports Clock Enable */
  __HAL_RCC_GPIOA_CLK_ENABLE();
  __HAL_RCC_GPIOD_CLK_ENABLE();
  __HAL_RCC_GPIOG_CLK_ENABLE();
  HAL_PWREx_EnableVddIO2();
  __HAL_RCC_GPIOB_CLK_ENABLE();
  __HAL_RCC_GPIOC_CLK_ENABLE();
  __HAL_RCC_GPIOH_CLK_ENABLE();

  /*Configure GPIO pin Output Level */
  HAL_GPIO_WritePin(GPIOA, GPIO_PIN_15, GPIO_PIN_SET);

  /*Configure GPIO pin Output Level */
  HAL_GPIO_WritePin(GPIOC, BLE_WIFI_ANT_SW_Pin|MODEM_PWR_SW_EN_Pin|GPS_INT_WAKE_Pin|BAT_ADC_EN_Pin
                          |WIFI_3V3_EN_Pin|GPS_PMIC_CE_Pin, GPIO_PIN_RESET);

  /*Configure GPIO pin Output Level */
  HAL_GPIO_WritePin(GPIOG, BLE_WAKE_Pin|WIFI_SPI3_CS_3V3_Pin, GPIO_PIN_RESET);

  /*Configure GPIO pin Output Level */
  HAL_GPIO_WritePin(WIFI_PWD_L_GPIO_Port, WIFI_PWD_L_Pin, GPIO_PIN_RESET);

  /*Configure GPIO pin Output Level */
  HAL_GPIO_WritePin(MCU_OFF_GPIO_Port, MCU_OFF_Pin, GPIO_PIN_RESET);

  /*Configure GPIO pins : PA15 WIFI_PWD_L_Pin */
  GPIO_InitStruct.Pin = GPIO_PIN_15|WIFI_PWD_L_Pin;
  GPIO_InitStruct.Mode = GPIO_MODE_OUTPUT_PP;
  GPIO_InitStruct.Pull = GPIO_NOPULL;
  GPIO_InitStruct.Speed = GPIO_SPEED_FREQ_LOW;
  HAL_GPIO_Init(GPIOA, &GPIO_InitStruct);

  /*Configure GPIO pin : GYRO_G_INT1_Pin */
  GPIO_InitStruct.Pin = GYRO_G_INT1_Pin;
  GPIO_InitStruct.Mode = GPIO_MODE_IT_RISING;
  GPIO_InitStruct.Pull = GPIO_NOPULL;
  HAL_GPIO_Init(GYRO_G_INT1_GPIO_Port, &GPIO_InitStruct);

  /*Configure GPIO pin : WIFI_INT_Pin */
  GPIO_InitStruct.Pin = WIFI_INT_Pin;
  GPIO_InitStruct.Mode = GPIO_MODE_IT_RISING;
  GPIO_InitStruct.Pull = GPIO_NOPULL;
  HAL_GPIO_Init(WIFI_INT_GPIO_Port, &GPIO_InitStruct);

  /*Configure GPIO pins : BLE_WIFI_ANT_SW_Pin MODEM_PWR_SW_EN_Pin GPS_INT_WAKE_Pin BAT_ADC_EN_Pin
                           WIFI_3V3_EN_Pin GPS_PMIC_CE_Pin */
  GPIO_InitStruct.Pin = BLE_WIFI_ANT_SW_Pin|MODEM_PWR_SW_EN_Pin|GPS_INT_WAKE_Pin|BAT_ADC_EN_Pin
                          |WIFI_3V3_EN_Pin|GPS_PMIC_CE_Pin;
  GPIO_InitStruct.Mode = GPIO_MODE_OUTPUT_PP;
  GPIO_InitStruct.Pull = GPIO_NOPULL;
  GPIO_InitStruct.Speed = GPIO_SPEED_FREQ_LOW;
  HAL_GPIO_Init(GPIOC, &GPIO_InitStruct);

  /*Configure GPIO pins : BLE_WAKE_Pin WIFI_SPI3_CS_3V3_Pin */
  GPIO_InitStruct.Pin = BLE_WAKE_Pin|WIFI_SPI3_CS_3V3_Pin;
  GPIO_InitStruct.Mode = GPIO_MODE_OUTPUT_PP;
  GPIO_InitStruct.Pull = GPIO_NOPULL;
  GPIO_InitStruct.Speed = GPIO_SPEED_FREQ_LOW;
  HAL_GPIO_Init(GPIOG, &GPIO_InitStruct);

  /*Configure GPIO pin : PWR_KEY_Pin */
  GPIO_InitStruct.Pin = PWR_KEY_Pin;
  GPIO_InitStruct.Mode = GPIO_MODE_IT_RISING_FALLING;
  GPIO_InitStruct.Pull = GPIO_NOPULL;
  HAL_GPIO_Init(PWR_KEY_GPIO_Port, &GPIO_InitStruct);

  /*Configure GPIO pin : CHARGE_CHG__Pin */
  GPIO_InitStruct.Pin = CHARGE_CHG__Pin;
  GPIO_InitStruct.Mode = GPIO_MODE_INPUT;
  GPIO_InitStruct.Pull = GPIO_NOPULL;
  HAL_GPIO_Init(CHARGE_CHG__GPIO_Port, &GPIO_InitStruct);

  /*Configure GPIO pin : BLE_INT_Pin */
  GPIO_InitStruct.Pin = BLE_INT_Pin;
  GPIO_InitStruct.Mode = GPIO_MODE_IT_RISING;
  GPIO_InitStruct.Pull = GPIO_NOPULL;
  HAL_GPIO_Init(BLE_INT_GPIO_Port, &GPIO_InitStruct);

  /*Configure GPIO pin : PRESSURE_INT_DRDY_Pin */
  GPIO_InitStruct.Pin = PRESSURE_INT_DRDY_Pin;
  GPIO_InitStruct.Mode = GPIO_MODE_IT_RISING;
  GPIO_InitStruct.Pull = GPIO_NOPULL;
  HAL_GPIO_Init(PRESSURE_INT_DRDY_GPIO_Port, &GPIO_InitStruct);

  /*Configure GPIO pins : GPS_IRQ_Pin GYRO_G_INT2_Pin */
  GPIO_InitStruct.Pin = GPS_IRQ_Pin|GYRO_G_INT2_Pin;
  GPIO_InitStruct.Mode = GPIO_MODE_IT_RISING;
  GPIO_InitStruct.Pull = GPIO_NOPULL;
  HAL_GPIO_Init(GPIOB, &GPIO_InitStruct);

  /*Configure GPIO pin : MCU_AC_PLUGIN__Pin */
  GPIO_InitStruct.Pin = MCU_AC_PLUGIN__Pin;
  GPIO_InitStruct.Mode = GPIO_MODE_INPUT;
  GPIO_InitStruct.Pull = GPIO_NOPULL;
  HAL_GPIO_Init(MCU_AC_PLUGIN__GPIO_Port, &GPIO_InitStruct);

  /*Configure GPIO pin : MCU_OFF_Pin */
  GPIO_InitStruct.Pin = MCU_OFF_Pin;
  GPIO_InitStruct.Mode = GPIO_MODE_OUTPUT_PP;
  GPIO_InitStruct.Pull = GPIO_NOPULL;
  GPIO_InitStruct.Speed = GPIO_SPEED_FREQ_LOW;
  HAL_GPIO_Init(MCU_OFF_GPIO_Port, &GPIO_InitStruct);

  /* EXTI interrupt init*/
  /* Don't enable EXTI IRQ before device services ready */
  #if 0
  HAL_NVIC_SetPriority(EXTI2_IRQn, 5, 0);
  HAL_NVIC_EnableIRQ(EXTI2_IRQn);

  HAL_NVIC_SetPriority(EXTI9_5_IRQn, 5, 0);
  HAL_NVIC_EnableIRQ(EXTI9_5_IRQn);

  HAL_NVIC_SetPriority(EXTI15_10_IRQn, 5, 0);
  HAL_NVIC_EnableIRQ(EXTI15_10_IRQn);
  #else
  HAL_NVIC_SetPriority(EXTI2_IRQn, 5, 0);
  HAL_NVIC_SetPriority(EXTI9_5_IRQn, 5, 0);
  HAL_NVIC_SetPriority(EXTI15_10_IRQn, 5, 0);
  #endif
}

/* StartTestApp function */
__weak void StartTestApp(void const * argument)
{
  /* init code for FATFS */
  MX_FATFS_Init();

  for(;;)
  {
    osDelay(1);
  }
}

void HAL_TIM_PeriodElapsedCallback(TIM_HandleTypeDef *htim)
{
  if (htim->Instance == TIM5) {
    HAL_IncTick();
  }
}

void Error_Handler(void)
{
  while(1)
  {
  }
}

#ifdef USE_FULL_ASSERT

/**
   * @brief Reports the name of the source file and the source line number
   * where the assert_param error has occurred.
   * @param file: pointer to the source file name
   * @param line: assert_param error line source number
   * @retval None
   */
void assert_failed(uint8_t* file, uint32_t line)
{
  /* USER CODE BEGIN 6 */
  /* User can add his own implementation to report the file name and line number,
    ex: printf("Wrong parameters value: file %s on line %d\r\n", file, line) */
	osThreadId tId;

	if(uart_ready)
	{
		tId = osThreadGetId();
		osDelay(200);
		uartPrintfBlock("ASSERT tid=0x%x %s line=%d\r\n", tId, file, line);
		osDelay(200);
	}
	while(1);
  /* USER CODE END 6 */

}

#endif

/************************ (C) COPYRIGHT STMicroelectronics *****END OF FILE****/

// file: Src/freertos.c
/**
  ******************************************************************************
  * File Name          : freertos.c
  * Description        : Code for freertos applications
  ******************************************************************************
  *
  * COPYRIGHT(c) 2016 STMicroelectronics
  *
  * Redistribution and use in source and binary forms, with or without modification,
  * are permitted provided that the following conditions are met:
  *   1. Redistributions of source code must retain the above copyright notice,
  *      this list of conditions and the following disclaimer.
  *   2. Redistributions in binary form must reproduce the above copyright notice,
  *      this list of conditions and the following disclaimer in the documentation
  *      and/or other materials provided with the distribution.
  *   3. Neither the name of STMicroelectronics nor the names of its contributors
  *      may be used to endorse or promote products derived from this software
  *      without specific prior written permission.
  *
  * THIS SOFTWARE IS PROVIDED BY THE COPYRIGHT HOLDERS AND CONTRIBUTORS "AS IS"
  * AND ANY EXPRESS OR IMPLIED WARRANTIES, INCLUDING, BUT NOT LIMITED TO, THE
  * IMPLIED WARRANTIES OF MERCHANTABILITY AND FITNESS FOR A PARTICULAR PURPOSE ARE
  * DISCLAIMED. IN NO EVENT SHALL THE COPYRIGHT HOLDER OR CONTRIBUTORS BE LIABLE
  * FOR ANY DIRECT, INDIRECT, INCIDENTAL, SPECIAL, EXEMPLARY, OR CONSEQUENTIAL
  * DAMAGES (INCLUDING, BUT NOT LIMITED TO, PROCUREMENT OF SUBSTITUTE GOODS OR
  * SERVICES; LOSS OF USE, DATA, OR PROFITS; OR BUSINESS INTERRUPTION) HOWEVER
  * CAUSED AND ON ANY THEORY OF LIABILITY, WHETHER IN CONTRACT, STRICT LIABILITY,
  * OR TORT (INCLUDING NEGLIGENCE OR OTHERWISE) ARISING IN ANY WAY OUT OF THE USE
  * OF THIS SOFTWARE, EVEN IF ADVISED OF THE POSSIBILITY OF SUCH DAMAGE.
  *
  ******************************************************************************
  */

#include "FreeRTOS.h"
#include "task.h"

/* Pre/Post sleep processing prototypes */
void PreSleepProcessing(uint32_t *ulExpectedIdleTime);
void PostSleepProcessing(uint32_t *ulExpectedIdleTime);

/* Hook prototypes */
void vApplicationStackOverflowHook(xTaskHandle xTask, signed char *pcTaskName);
void vApplicationMallocFailedHook(void);

/* USER CODE BEGIN 4 */
void vApplicationStackOverflowHook(xTaskHandle xTask, signed char *pcTaskName)
{
   /* Run time stack overflow checking is performed if
   configCHECK_FOR_STACK_OVERFLOW is defined to 1 or 2. This hook function is
   called if a stack overflow is detected. */
   //assert_failed((uint8_t *)__FILE__, __LINE__);
	/* note: printf won't be completed performed for stack overflow.*/
	configASSERT( 0 );
}
/* USER CODE END 4 */

/* USER CODE BEGIN 5 */
void vApplicationMallocFailedHook(void)
{
   /* vApplicationMallocFailedHook() will only be called if
   configUSE_MALLOC_FAILED_HOOK is set to 1 in FreeRTOSConfig.h. It is a hook
   function that will get called if a call to pvPortMalloc() fails.
   pvPortMalloc() is called internally by the kernel whenever a task, queue,
   timer or semaphore is created. It is also called by various parts of the
   demo application. If heap_1.c or heap_2.c are used, then the size of the
   heap available to pvPortMalloc() is defined by configTOTAL_HEAP_SIZE in
   FreeRTOSConfig.h, and the xPortGetFreeHeapSize() API function can be used
   to query the size of free heap space that remains (although it does not
   provide information on how the remaining heap might be fragmented). */
   //assert_failed((uint8_t *)__FILE__, __LINE__);
	configASSERT( 0 );
}
/* USER CODE END 5 */

/* USER CODE BEGIN PREPOSTSLEEP */
void PreSleepProcessing(uint32_t *ulExpectedIdleTime)
{
/* place for user code */
}

void PostSleepProcessing(uint32_t *ulExpectedIdleTime)
{
/* place for user code */
}
/* USER CODE END PREPOSTSLEEP */

/************************ (C) COPYRIGHT STMicroelectronics *****END OF FILE****/
